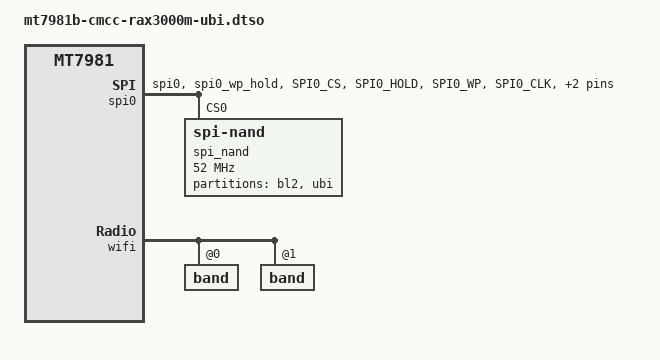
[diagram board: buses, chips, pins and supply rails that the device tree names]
// SPDX-License-Identifier: GPL-2.0-or-later OR MIT

/dts-v1/;
/plugin/;

#include <dt-bindings/pinctrl/mt65xx.h>

/ {
	compatible = "cmcc,rax3000m", "mediatek,mt7981";

	fragment@0 {
		target = <&chosen>;
		__overlay__ {
			rootdisk = <&ubi_rootdisk>;
		};
	};

	fragment@1 {
		target = <&gmac0>;
		__overlay__ {
			nvmem-cells = <&macaddr_factory_2a 0>;
			nvmem-cell-names = "mac-address";
		};
	};

	fragment@2 {
		target = <&gmac1>;
		__overlay__ {
			nvmem-cells = <&macaddr_factory_24 0>;
			nvmem-cell-names = "mac-address";
		};
	};

	fragment@3 {
		target = <&pio>;
		__overlay__ {
			spi0_flash_pins: spi0-pins {
				mux {
					function = "spi";
					groups = "spi0", "spi0_wp_hold";
				};

				conf-pu {
					pins = "SPI0_CS", "SPI0_HOLD", "SPI0_WP";
					drive-strength = <MTK_DRIVE_8mA>;
					bias-disable; /* bias-disable */
				};

				conf-pd {
					pins = "SPI0_CLK", "SPI0_MOSI", "SPI0_MISO";
					drive-strength = <MTK_DRIVE_8mA>;
					bias-disable; /* bias-disable */
				};
			};
		};
	};

	fragment@4 {
		target = <&spi0>;
		__overlay__ {
			#address-cells = <1>;
			#size-cells = <0>;
			pinctrl-names = "default";
			pinctrl-0 = <&spi0_flash_pins>;
			status = "okay";

			spi_nand@0 {
				compatible = "spi-nand";
				reg = <0>;

				spi-max-frequency = <52000000>;
				spi-tx-bus-width = <4>;
				spi-rx-bus-width = <4>;

				partitions {
					compatible = "fixed-partitions";
					#address-cells = <1>;
					#size-cells = <1>;

					partition@0 {
						label = "bl2";
						reg = <0x00000 0x0100000>;
						read-only;
					};

					partition@100000 {
						label = "ubi";
						reg = <0x100000 0x7f00000>;
						compatible = "linux,ubi";

						volumes {
							ubi_factory: ubi-volume-factory {
								volname = "factory";
							};

							ubi_rootdisk: ubi-volume-fit {
								volname = "fit";
							};

							ubi-volume-ubootenv {
								volname = "ubootenv";
								nvmem-layout {
									compatible = "u-boot,env-redundant-bool";
								};
							};

							ubi-volume-ubootenv2 {
								volname = "ubootenv2";
								nvmem-layout {
									compatible = "u-boot,env-redundant-bool";
								};
							};
						};
					};
				};
			};
		};
	};

	fragment@5 {
		target = <&ubi_factory>;
		__overlay__ {
			nvmem-layout {
				compatible = "fixed-layout";
				#address-cells = <1>;
				#size-cells = <1>;

				eeprom_factory_0: eeprom@0 {
					reg = <0x0 0x1000>;
				};

				macaddr_factory_4: macaddr@4 {
					reg = <0x4 0x6>;
					compatible = "mac-base";
					#nvmem-cell-cells = <1>;
				};

				macaddr_factory_a: macaddr@a {
					reg = <0xa 0x6>;
					compatible = "mac-base";
					#nvmem-cell-cells = <1>;
				};

				macaddr_factory_24: macaddr@24 {
					compatible = "mac-base";
					reg = <0x24 0x6>;
					#nvmem-cell-cells = <1>;
				};

				macaddr_factory_2a: macaddr@2a {
					compatible = "mac-base";
					reg = <0x2a 0x6>;
					#nvmem-cell-cells = <1>;
				};
			};
		};
	};

	fragment@6 {
		target = <&wifi>;
		__overlay__ {
			nvmem-cells = <&eeprom_factory_0>;
			nvmem-cell-names = "eeprom";

			band@0 {
				reg = <0>;
				nvmem-cells = <&macaddr_factory_4 0>;
				nvmem-cell-names = "mac-address";
			};

			band@1 {
				reg = <1>;
				nvmem-cells = <&macaddr_factory_a 0>;
				nvmem-cell-names = "mac-address";
			};
		};
	};
};
